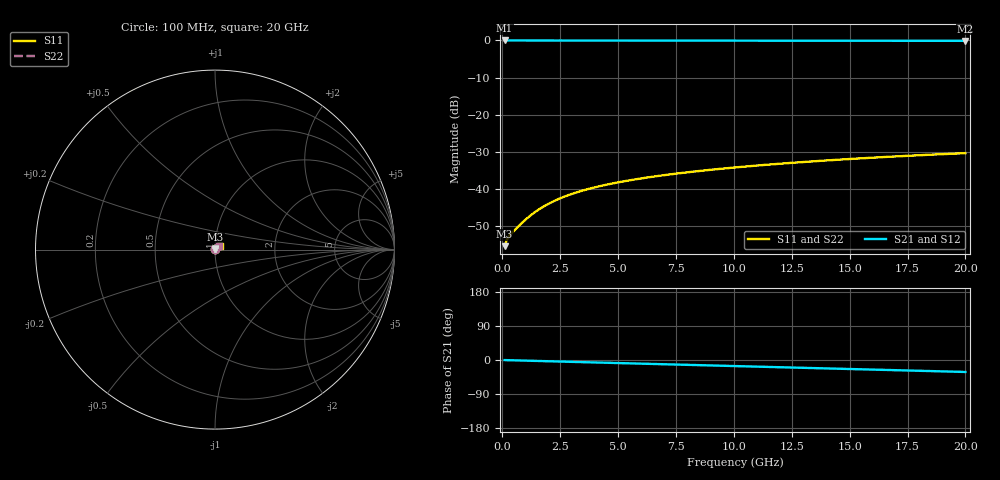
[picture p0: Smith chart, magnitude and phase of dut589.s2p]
! Touchstone file exported from HFSS 2026.1.0
!  File:  C:/ffzhzh/LocalFiles/Ansys_Project_Files/temp_train_BSMRDL_589_1783015834_53980.aedt
!  Generated:  02:11:51 AM Jul  3, 2026
!  Design:  BSMRDL
!  Project:  temp_train_BSMRDL_589_1783015834_53980
! Variables:
!  h_bsmrdl = 5.19um
!  h_ox = 20um
!  h_rdl = 5um
!  h_sub = 80um
!  h_tmrdl = 5um
!  h_tsv = 80um
!  h_via = 3um
!  l_bsmrdl = 555.5um
!  l_sub = 955.5um
!  l_tmrdl = 200um
!  m_sub = 200um
!  pitch = 36.6um
!  r_tsv = 6um
!  s_tmrdl = 10um
!  w_bsmrdl = 29.91um
!  w_sub = 500um
!  w_tmrdl = 12um
!  x_tsv_center1 = 206um
!  x_tsv_center2 = 791.41um
!  x_tsv_center3 = 1003.41um
!  x_tsv_center4 = 1588.82um
!  x_tsv_center5 = 1800.82um
!  x_tsv_center6 = 2386.23um
# GHz S MA R 50.000000
! Terminal data exported
! Port[1] = BSM_RDL1_1_T1
! Port[2] = BSM_RDL1_1_T2
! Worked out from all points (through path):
!   200 points, 100 MHz to 20 GHz, reference 50 ohm
!   highest |S21| = -0.01 dB at 100 MHz (marker M1); lowest = -0.1 dB at 20 GHz (marker M2)
!   group delay of S21, straight-line fit = 4.37 ps
!   lowest |S11| = -55.3 dB at 100 MHz (marker M3), VSWR 1.00, Z = 50.2 + j0.0663 ohm
!   |S11| at or under -10 dB: start of sweep to end of sweep
!   |S22| runs from -55.3 to -30.3 dB; largest |S21 - S12| = 2.1e-15
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0.1  0.00172 22.6  0.9984 -0.2  0.9984 -0.2  0.00172 22.6
! Gamma 0 0 0 0
! Port Impedance 50 0 50 0
0.2  0.002106 27.5  0.9981 -0.4  0.9981 -0.4  0.002098 27.4
0.3  0.00235 30.7  0.9979 -0.5  0.9979 -0.5  0.002336 30.7
0.4  0.002554 34.2  0.9977 -0.7  0.9977 -0.7  0.002538 34.3
0.7  0.003186 43.3  0.9975 -1.2  0.9975 -1.2  0.003176 43.6
0.9  0.003655 47.7  0.9974 -1.5  0.9974 -1.5  0.003651 47.9
1.1  0.004148 50.7  0.9973 -1.8  0.9973 -1.8  0.004149 51.0
1.4  0.004905 53.7  0.9971 -2.3  0.9971 -2.3  0.00491 53.8
1.8  0.005906 55.6  0.9968 -3.0  0.9968 -3.0  0.005914 55.7
2.3  0.007103 56.4  0.9964 -3.8  0.9964 -3.8  0.007111 56.4
2.9  0.008438 56.2  0.9959 -4.7  0.9959 -4.7  0.008443 56.3
3.5  0.009667 55.7  0.9953 -5.7  0.9953 -5.7  0.009668 55.7
4.2  0.01099 54.8  0.9947 -6.8  0.9947 -6.8  0.01099 54.8
4.9  0.01221 53.9  0.9942 -7.9  0.9942 -7.9  0.01221 53.9
5.8  0.01368 52.7  0.9935 -9.4  0.9935 -9.4  0.01367 52.7
6.8  0.0152 51.4  0.9928 -10.9  0.9928 -10.9  0.01519 51.5
8.3  0.01733 49.6  0.9919 -13.3  0.9919 -13.3  0.01732 49.6
10.1  0.01971 47.4  0.991 -16.1  0.991 -16.1  0.01969 47.5
11.7  0.0217 45.5  0.9902 -18.6  0.9902 -18.6  0.02168 45.6
13.4  0.02371 43.4  0.9895 -21.3  0.9895 -21.3  0.02368 43.6
16.7  0.02734 39.3  0.9881 -26.4  0.9881 -26.4  0.0273 39.4
20  0.03059 34.9  0.9869 -31.6  0.9869 -31.6  0.03054 35.1
